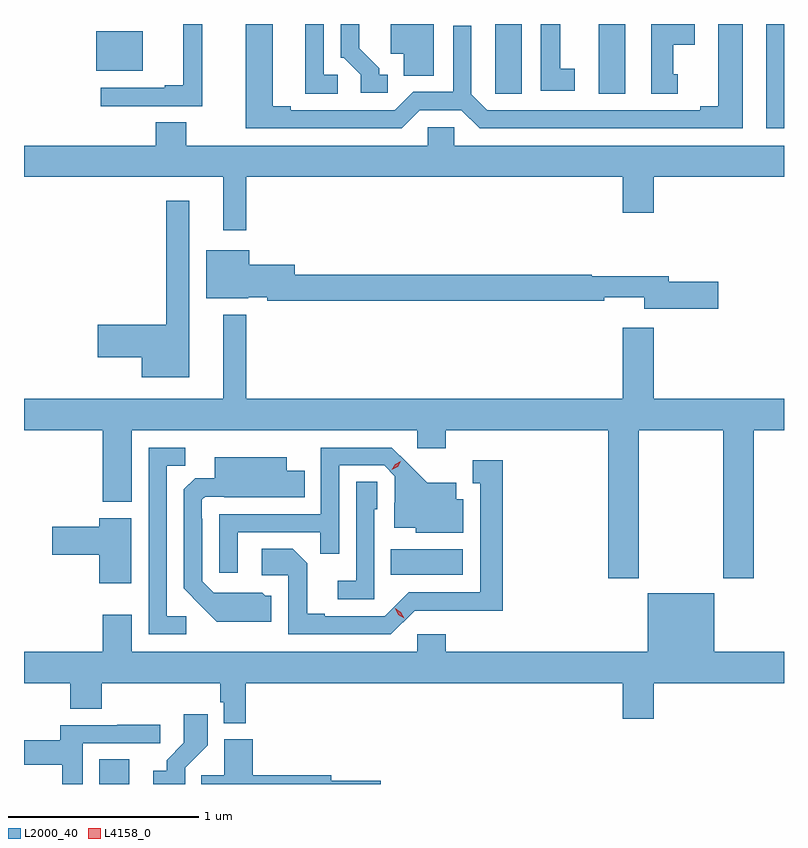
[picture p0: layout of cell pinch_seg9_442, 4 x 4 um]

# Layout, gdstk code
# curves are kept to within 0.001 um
import gdstk
lib = gdstk.Library(unit=1e-6, precision=1e-09)
def R(c, l, rs):  # rectangles x0, y0, x1, y1
    for r in rs: c.add(gdstk.rectangle(r[:2], r[2:], *l))
def P(c, l, *ps):  # polygons
    for p in ps: c.add(gdstk.Polygon(p, *l))
L2000_40 = (2000, 40)
L4158_0 = (4158, 0)

pinch_seg9_442 = lib.new_cell('pinch_seg9_442')
R(pinch_seg9_442, L2000_40, [(258.158,1197.221,258.316,1197.35), (259.69,1198.322,260.071,1198.456), (261.668,1200.672,261.761,1201.221), (260.786,1200.855,260.926,1201.221), (258.14,1200.974,258.385,1201.183)])
P(pinch_seg9_442, L2000_40, [(259.411,1200.954),(259.338,1200.954),(259.338,1201.221),(259.241,1201.221),(259.241,1200.853),(259.411,1200.853)],
  [(258.699,1201.221),(258.599,1201.221),(258.599,1200.898),(258.503,1200.898),(258.503,1200.885),(258.165,1200.885),(258.165,1200.789),(258.699,1200.789)],
  [(259.845,1200.768),(260.063,1200.768),(260.159,1200.672),(261.544,1200.672),(261.544,1201.221),(261.416,1201.221),(261.416,1200.788),(261.32,1200.788),(261.32,1200.768),(260.199,1200.768),(260.115,1200.852),(260.115,1201.213),(260.019,1201.213),(260.019,1200.864),(259.809,1200.864),(259.713,1200.768),(259.165,1200.768),(259.165,1200.788),(259.069,1200.788),(259.069,1201.221),(258.929,1201.221),(258.929,1200.672),(259.749,1200.672)],
  [(260.659,1200.986),(260.584,1200.986),(260.584,1201.221),(260.48,1201.221),(260.48,1200.87),(260.659,1200.87)],
  [(259.675,1200.954),(259.63,1200.954),(259.63,1200.989),(259.525,1201.094),(259.525,1201.221),(259.428,1201.221),(259.428,1201.044),(259.443,1201.044),(259.533,1200.954),(259.533,1200.858),(259.675,1200.858)],
  [(259.918,1201.221),(259.691,1201.221),(259.691,1201.064),(259.76,1201.064),(259.76,1200.949),(259.918,1200.949)],
  [(261.202,1200.957),(261.178,1200.957),(261.178,1201.112),(261.292,1201.112),(261.292,1201.221),(261.062,1201.221),(261.062,1200.855),(261.202,1200.855)],
  [(260.38,1201.221),(260.24,1201.221),(260.24,1200.961),(260.241,1200.961),(260.241,1200.853),(260.38,1200.853)],
  [(258.931,1200.416),(260.912,1200.416),(260.912,1200.228),(261.076,1200.228),(261.076,1200.416),(261.761,1200.416),(261.761,1200.58),(260.025,1200.58),(260.025,1200.678),(259.887,1200.678),(259.887,1200.58),(258.615,1200.58),(258.615,1200.704),(258.455,1200.704),(258.455,1200.58),(257.761,1200.58),(257.761,1200.416),(258.809,1200.416),(258.809,1200.135),(258.931,1200.135)],
  [(258.631,1200.292),(258.51,1200.292),(258.51,1199.639),(258.15,1199.639),(258.15,1199.468),(258.38,1199.468),(258.38,1199.363),(258.631,1199.363)],
  [(261.415,1199.864),(261.154,1199.864),(261.154,1199.893),(260.75,1199.893),(260.75,1199.9),(259.186,1199.9),(259.186,1199.953),(258.946,1199.953),(258.946,1200.031),(258.719,1200.031),(258.719,1199.777),(258.942,1199.777),(258.942,1199.783),(259.042,1199.783),(259.042,1199.764),(260.816,1199.764),(260.816,1199.783),(261.026,1199.783),(261.026,1199.722),(261.415,1199.722)],
  [(257.761,1199.084),(258.176,1199.084),(258.176,1198.706),(258.328,1198.706),(258.328,1199.084),(259.83,1199.084),(259.83,1198.989),(259.982,1198.989),(259.982,1199.084),(260.837,1199.084),(260.837,1198.305),(260.997,1198.305),(260.997,1199.084),(261.442,1199.084),(261.442,1198.305),(261.602,1198.305),(261.602,1199.084),(261.761,1199.084),(261.761,1199.248),(261.076,1199.248),(261.076,1199.623),(260.912,1199.623),(260.912,1199.248),(258.931,1199.248),(258.931,1199.692),(258.809,1199.692),(258.809,1199.248),(257.761,1199.248)],
  [(258.885,1198.545),(259.321,1198.545),(259.321,1198.432),(259.419,1198.432),(259.419,1198.899),(259.656,1198.899),(259.713,1198.842),(259.713,1198.7),(259.709,1198.7),(259.709,1198.571),(259.824,1198.571),(259.824,1198.544),(260.074,1198.544),(260.074,1198.72),(260.035,1198.72),(260.035,1198.807),(259.883,1198.807),(259.696,1198.992),(259.323,1198.992),(259.323,1198.641),(258.789,1198.641),(258.789,1198.332),(258.885,1198.332)],
  [(258.616,1198.104),(258.513,1198.104),(258.513,1198.897),(258.609,1198.897),(258.609,1198.992),(258.417,1198.992),(258.417,1198.008),(258.616,1198.008)],
  [(259.063,1198.212),(259.032,1198.212),(259.016,1198.228),(258.759,1198.227),(258.699,1198.287),(258.699,1198.616),(258.696,1198.616),(258.696,1198.716),(258.714,1198.734),(258.814,1198.734),(258.814,1198.73),(259.238,1198.73),(259.238,1198.87),(259.144,1198.87),(259.144,1198.942),(258.764,1198.942),(258.764,1198.831),(258.662,1198.831),(258.603,1198.772),(258.603,1198.25),(258.775,1198.076),(259.063,1198.076)],
  [(259.818,1198.134),(260.281,1198.133),(260.281,1198.924),(260.123,1198.924),(260.123,1198.803),(260.162,1198.803),(260.162,1198.23),(259.785,1198.23),(259.659,1198.104),(259.345,1198.104),(259.345,1198.117),(259.251,1198.117),(259.251,1198.384),(259.175,1198.46),(259.011,1198.46),(259.011,1198.32),(259.152,1198.32),(259.152,1198.008),(259.692,1198.008)],
  [(259.605,1198.668),(259.62,1198.668),(259.62,1198.811),(259.509,1198.811),(259.509,1198.291),(259.413,1198.291),(259.413,1198.194),(259.605,1198.194)],
  [(258.325,1198.621),(258.158,1198.621),(258.158,1198.574),(257.91,1198.574),(257.91,1198.427),(258.158,1198.427),(258.158,1198.278),(258.325,1198.278)],
  [(258.929,1197.752),(260.912,1197.752),(260.912,1197.564),(261.076,1197.564),(261.076,1197.752),(261.761,1197.752),(261.761,1197.916),(261.394,1197.916),(261.394,1198.225),(261.044,1198.225),(261.044,1197.916),(259.982,1197.916),(259.982,1198.009),(259.83,1198.009),(259.83,1197.916),(258.328,1197.916),(258.328,1198.111),(258.176,1198.111),(258.176,1197.916),(257.761,1197.916),(257.761,1197.752),(258.005,1197.752),(258.005,1197.616),(258.17,1197.616),(258.17,1197.752),(258.793,1197.752),(258.793,1197.651),(258.813,1197.651),(258.813,1197.542),(258.929,1197.542)],
  [(258.609,1197.307),(258.728,1197.426),(258.728,1197.589),(258.603,1197.589),(258.603,1197.437),(258.512,1197.347),(258.512,1197.292),(258.44,1197.292),(258.44,1197.221),(258.609,1197.221)],
  [(258.069,1197.435),(258.478,1197.435),(258.478,1197.534),(258.253,1197.534),(258.253,1197.531),(257.953,1197.531),(257.953,1197.451),(257.761,1197.451),(257.761,1197.322),(257.961,1197.322),(257.961,1197.221),(258.069,1197.221)],
  [(259.639,1197.239),(259.378,1197.239),(259.378,1197.268),(258.965,1197.268),(258.965,1197.457),(258.815,1197.457),(258.815,1197.266),(258.694,1197.266),(258.694,1197.221),(259.639,1197.221)])
P(pinch_seg9_442, L4158_0, [(259.762,1198.093),(259.731,1198.112),(259.714,1198.145),(259.714,1198.146),(259.714,1198.146),(259.745,1198.126),(259.762,1198.093),(259.762,1198.093)],
  [(259.697,1198.875),(259.697,1198.875),(259.714,1198.904),(259.745,1198.919),(259.745,1198.919),(259.745,1198.919),(259.728,1198.89),(259.697,1198.875)])

lib.write_gds('pinch_seg9_442.gds')
